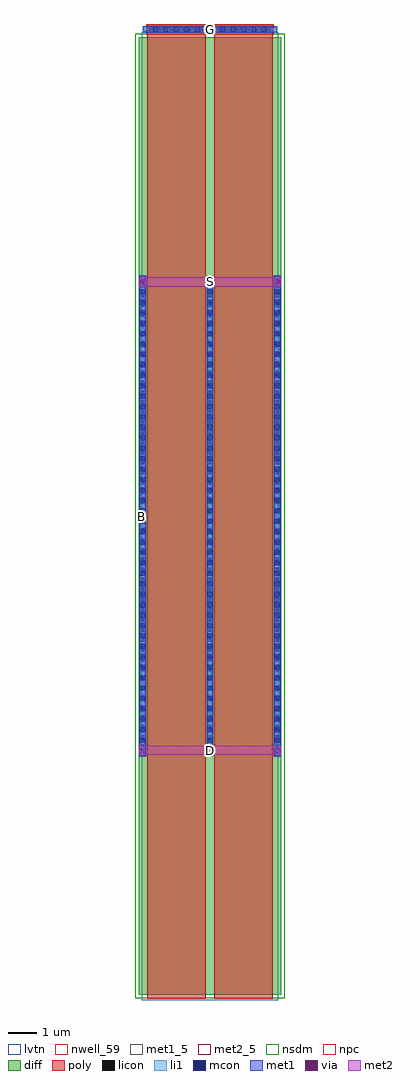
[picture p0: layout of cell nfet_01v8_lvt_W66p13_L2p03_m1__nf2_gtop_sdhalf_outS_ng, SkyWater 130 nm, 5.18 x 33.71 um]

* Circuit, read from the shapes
.subckt nfet_01v8_lvt_W66p13_L2p03_m1__nf2_gtop_sdhalf_outS_ng B D G S
XM1 D G S B sky130_fd_pr__nfet_01v8_lvt w=33.07 l=2.03 m=2
.ends

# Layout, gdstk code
import gdstk
lib = gdstk.Library(unit=1e-6, precision=1e-09)
def R(c, l, rs):  # rectangles x0, y0, x1, y1
    for r in rs: c.add(gdstk.rectangle(r[:2], r[2:], *l))
def A(c, l, x, y, w, h, nx, ny, dx, dy):  # array of equal rectangles
    R(c, l, [(x+i*dx, y+j*dy, x+i*dx+w, y+j*dy+h) for i in range(nx) for j in range(ny)])
nwell_59 = (64, 59)
diff = (65, 20)
poly = (66, 20)
licon = (66, 44)
li1 = (67, 20)
mcon = (67, 44)
met1_5 = (68, 5)
met1 = (68, 20)
via = (68, 44)
met2_5 = (69, 5)
met2 = (69, 20)
nsdm = (93, 44)
npc = (95, 20)
lvtn = (125, 44)

sky130_fd_pr__nfet_01v8_ = lib.new_cell('sky130_fd_pr__nfet_01v8_lvt_GVG955')
R(sky130_fd_pr__nfet_01v8_, diff, [(-2.465,-16.69,2.465,16.38)])
R(sky130_fd_pr__nfet_01v8_, poly, [(-2.175,-16.82,-0.145,16.82), (0.145,-16.82,2.175,16.82)])
A(sky130_fd_pr__nfet_01v8_, licon, -2.405, -8.23, 0.17, 0.17, 3, 48, 2.32, 0.34)
A(sky130_fd_pr__nfet_01v8_, licon, -2.095, 16.57, 0.17, 0.17, 6, 1, 0.34, 0)
A(sky130_fd_pr__nfet_01v8_, licon, 0.225, 16.57, 0.17, 0.17, 6, 1, 0.34, 0)
A(sky130_fd_pr__nfet_01v8_, li1, -2.405, -8.47, 0.17, 16.63, 3, 1, 2.32, 0)
R(sky130_fd_pr__nfet_01v8_, li1, [(-2.32,16.57,2.32,16.74)])
A(sky130_fd_pr__nfet_01v8_, mcon, -2.405, -8.34, 0.17, 0.17, 3, 46, 2.32, 0.36)
A(sky130_fd_pr__nfet_01v8_, mcon, -1.965, 16.57, 0.17, 0.17, 5, 1, 0.36, 0)
A(sky130_fd_pr__nfet_01v8_, mcon, 0.355, 16.57, 0.17, 0.17, 5, 1, 0.36, 0)
A(sky130_fd_pr__nfet_01v8_, met1, -2.435, -8.45, 0.23, 16.59, 3, 1, 2.32, 0)
R(sky130_fd_pr__nfet_01v8_, met1, [(-2.155,16.54,-0.165,16.57), (0.165,16.54,2.155,16.57), (-2.32,16.57,2.32,16.74), (-2.155,16.74,-0.165,16.77), (0.165,16.74,2.155,16.77)])
R(sky130_fd_pr__nfet_01v8_, nsdm, [(-2.59,-16.815,2.59,16.505)])
R(sky130_fd_pr__nfet_01v8_, npc, [(-2.195,16.47,2.195,16.84)])
R(sky130_fd_pr__nfet_01v8_, lvtn, [(-2.355,-16.87,2.355,16.56)])
sky130_fd_pr__nfet_01v8_.add(gdstk.Label('D0', (-2.32,-0.155), layer=67, texttype=5))
sky130_fd_pr__nfet_01v8_.add(gdstk.Label('G', (1.16,16.655), layer=67, texttype=5))
sky130_fd_pr__nfet_01v8_.add(gdstk.Label('G', (-1.16,16.655), layer=67, texttype=5))
sky130_fd_pr__nfet_01v8_.add(gdstk.Label('S1', (0,-0.155), layer=67, texttype=5))

nfet_01v8_lvt_w66p13_l2p = lib.new_cell('nfet_01v8_lvt_W66p13_L2p03_m1__nf2_gtop_sdhalf_outS_ng')
R(nfet_01v8_lvt_w66p13_l2p, nwell_59, [(0.05,16.615,0.15,16.715)])
R(nfet_01v8_lvt_w66p13_l2p, met1_5, [(0.145,33.36,4.785,33.59)])
R(nfet_01v8_lvt_w66p13_l2p, met1, [(2.335,8.42,2.595,8.74), (0.015,24.59,0.275,24.91), (4.655,24.59,4.915,24.91), (0.145,33.36,4.785,33.59)])
R(nfet_01v8_lvt_w66p13_l2p, via, [(2.39,8.505,2.54,8.655), (0.07,24.675,0.22,24.825), (4.71,24.675,4.86,24.825)])
R(nfet_01v8_lvt_w66p13_l2p, met2_5, [(0.01,8.42,4.92,8.74), (0.01,24.59,4.92,24.91)])
R(nfet_01v8_lvt_w66p13_l2p, met2, [(0.01,8.42,4.92,8.74), (0.01,24.59,4.92,24.91)])
nfet_01v8_lvt_w66p13_l2p.add(gdstk.Reference(sky130_fd_pr__nfet_01v8_, (2.465,16.82)))
nfet_01v8_lvt_w66p13_l2p.add(gdstk.Label('S', (2.465,24.75), layer=69, texttype=5))
nfet_01v8_lvt_w66p13_l2p.add(gdstk.Label('D', (2.465,8.58), layer=69, texttype=5))
nfet_01v8_lvt_w66p13_l2p.add(gdstk.Label('G', (2.465,33.475), layer=68, texttype=5))
nfet_01v8_lvt_w66p13_l2p.add(gdstk.Label('B', (0.1,16.665), layer=64, texttype=59))

lib.write_gds('nfet_01v8_lvt_W66p13_L2p03_m1__nf2_gtop_sdhalf_outS_ng.gds')
